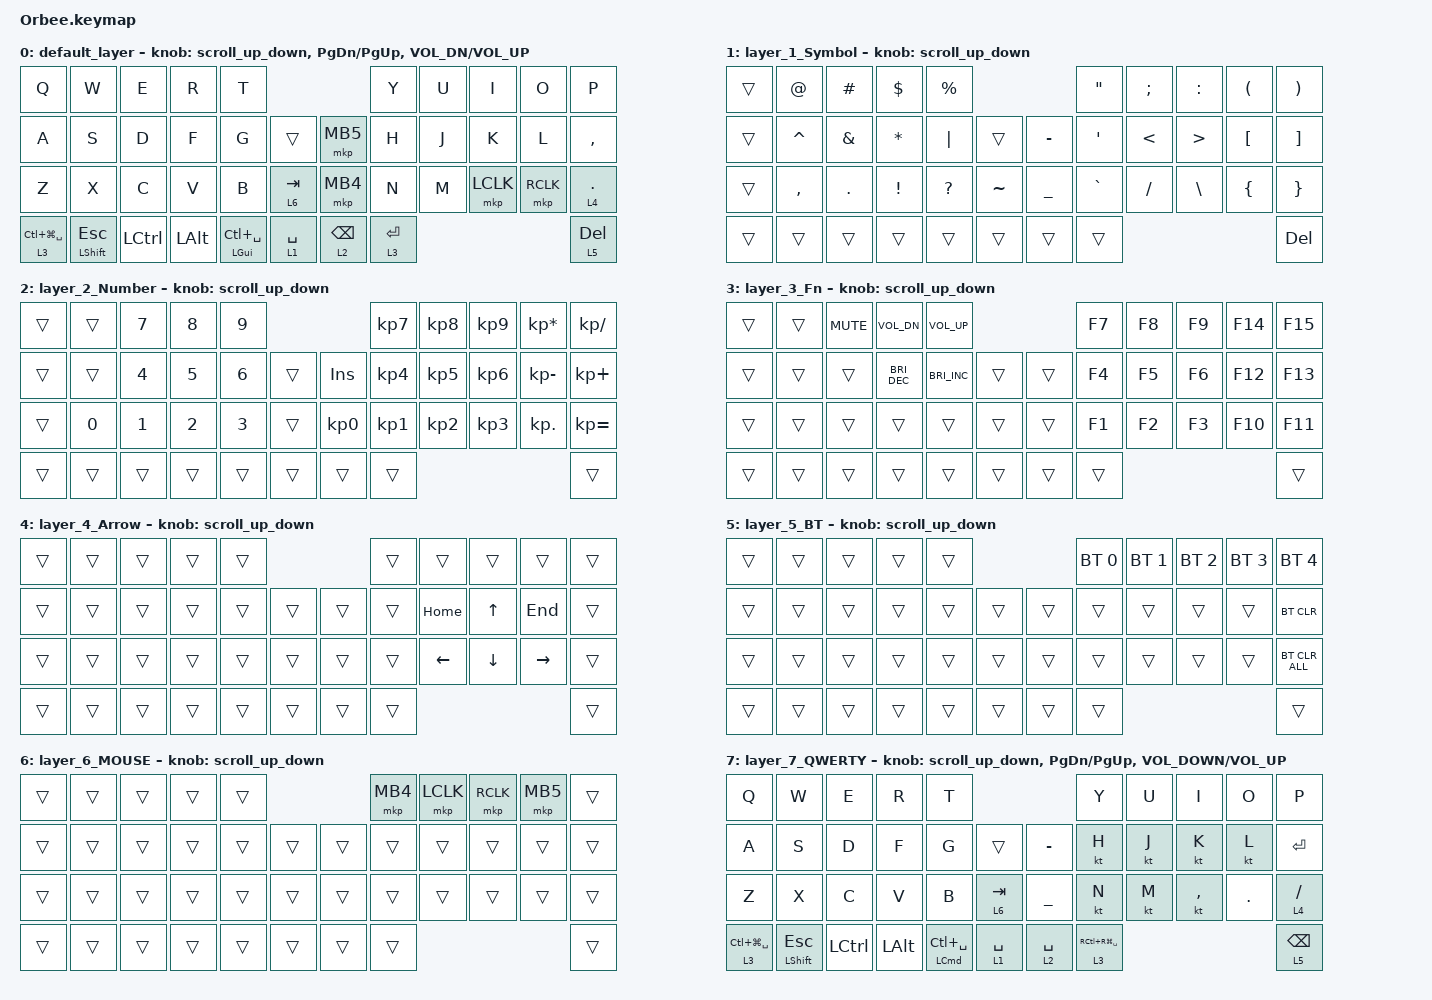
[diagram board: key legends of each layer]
#include <behaviors.dtsi>
#include <dt-bindings/zmk/bt.h>
#include <dt-bindings/zmk/keys.h>
#include <dt-bindings/zmk/pointing.h>

#define ZMK_POINTING_DEFAULT_SCRL_VAL 100
#define MOUSE 6

&mt {
    flavor = "balanced";
    quick-tap-ms = <0>;
};

/ {
    combos {
        compatible = "zmk,combos";

        Middle_Click {
            bindings = <&mkp MCLK>;
            key-positions = <6 7>;
            layers = <0 6>;
        };

        Middle_Click2 {
            bindings = <&mkp MCLK>;
            key-positions = <33 32>;
            layers = <7>;
        };
    };

    macros {
        to_layer_0: to_layer_0 {
            compatible = "zmk,behavior-macro-one-param";
            #binding-cells = <1>;
            bindings = <&to 0 &macro_param_1to1 &kp MACRO_PLACEHOLDER>;
            label = "TO_LAYER_0";
        };
    };

    behaviors {
        lt_to_layer_0: lt_to_layer_0 {
            compatible = "zmk,behavior-hold-tap";
            label = "LAYER_TAP_TO_0";
            bindings = <&mo>, <&to_layer_0>;

            #binding-cells = <2>;
            tapping-term-ms = <200>;
        };

        scroll_up_down: behavior_sensor_rotate_mouse_wheel_up_down {
            compatible = "zmk,behavior-sensor-rotate";
            #sensor-binding-cells = <0>;
            bindings = <&msc SCRL_UP>, <&msc SCRL_DOWN>;

            tap-ms = <20>;
        };
    };

    keymap {
        compatible = "zmk,keymap";

        default_layer {
            bindings = <
&kp Q                &kp W                  &kp E      &kp R     &kp T                                               &kp Y        &kp U  &kp I      &kp O      &kp P
&kp A                &kp S                  &kp D      &kp F     &kp G               &trans         &mkp MB5         &kp H        &kp J  &kp K      &kp L      &kp COMMA
&kp Z                &kp X                  &kp C      &kp V     &kp B               &lt 6 TAB      &mkp MB4         &kp N        &kp M  &mkp LCLK  &mkp RCLK  &lt 4 PERIOD
&lt 3 LC(LG(SPACE))  &mt LEFT_SHIFT ESCAPE  &kp LCTRL  &kp LALT  &mt LGUI LC(SPACE)  &lt 1 SPACE    &lt 2 BACKSPACE  &lt 3 ENTER                               &lt 5 DELETE
            >;

            sensor-bindings =
                <&scroll_up_down>,
                <&inc_dec_kp PG_DN PG_UP>,
                <&inc_dec_kp C_VOL_DN C_VOL_UP>;
        };

        layer_1_Symbol {
            bindings = <
&trans  &kp AT_SIGN  &kp HASH       &kp DOLLAR       &kp PERCENT                                &kp DOUBLE_QUOTES  &kp SEMICOLON  &kp COLON         &kp LEFT_PARENTHESIS  &kp RIGHT_PARENTHESIS
&trans  &kp CARET    &kp AMPERSAND  &kp ASTERISK     &kp PIPE      &trans       &kp MINUS       &kp SINGLE_QUOTE   &kp LESS_THAN  &kp GREATER_THAN  &kp LEFT_BRACKET      &kp RIGHT_BRACKET
&trans  &kp COMMA    &kp PERIOD     &kp EXCLAMATION  &kp QUESTION  &kp TILDE    &kp UNDERSCORE  &kp GRAVE          &kp SLASH      &kp BACKSLASH     &kp LEFT_BRACE        &kp RIGHT_BRACE
&trans  &trans       &trans         &trans           &trans        &trans       &trans          &trans                                                                    &kp DELETE
            >;

            sensor-bindings = <&scroll_up_down>;
        };

        layer_2_Number {
            bindings = <
&trans  &trans        &kp NUMBER_7  &kp NUMBER_8  &kp NUMBER_9                        &kp KP_N7  &kp KP_N8  &kp KP_N9  &kp KP_ASTERISK  &kp KP_DIVIDE
&trans  &trans        &kp NUMBER_4  &kp NUMBER_5  &kp NUMBER_6  &trans    &kp INSERT  &kp KP_N4  &kp KP_N5  &kp KP_N6  &kp KP_SUBTRACT  &kp KP_PLUS
&trans  &kp NUMBER_0  &kp NUMBER_1  &kp NUMBER_2  &kp NUMBER_3  &trans    &kp KP_N0   &kp KP_N1  &kp KP_N2  &kp KP_N3  &kp KP_DOT       &kp KP_EQUAL
&trans  &trans        &trans        &trans        &trans        &trans    &trans      &trans                                            &trans
            >;

            sensor-bindings = <&scroll_up_down>;
        };

        layer_3_Fn {
            bindings = <
&trans  &trans  &kp K_MUTE  &kp C_VOL_DN          &kp C_VOL_UP                            &kp F7  &kp F8  &kp F9  &kp F14  &kp F15
&trans  &trans  &trans      &kp C_BRIGHTNESS_DEC  &kp C_BRIGHTNESS_INC  &trans    &trans  &kp F4  &kp F5  &kp F6  &kp F12  &kp F13
&trans  &trans  &trans      &trans                &trans                &trans    &trans  &kp F1  &kp F2  &kp F3  &kp F10  &kp F11
&trans  &trans  &trans      &trans                &trans                &trans    &trans  &trans                           &trans
            >;

            sensor-bindings = <&scroll_up_down>;
        };

        layer_4_Arrow {
            bindings = <
&trans  &trans  &trans  &trans  &trans                    &trans  &trans    &trans          &trans     &trans
&trans  &trans  &trans  &trans  &trans  &trans    &trans  &trans  &kp HOME  &kp UP_ARROW    &kp END    &trans
&trans  &trans  &trans  &trans  &trans  &trans    &trans  &trans  &kp LEFT  &kp DOWN_ARROW  &kp RIGHT  &trans
&trans  &trans  &trans  &trans  &trans  &trans    &trans  &trans                                       &trans
            >;

            sensor-bindings = <&scroll_up_down>;
        };

        layer_5_BT {
            bindings = <
&trans  &trans  &trans  &trans  &trans                    &bt BT_SEL 0  &bt BT_SEL 1  &bt BT_SEL 2  &bt BT_SEL 3  &bt BT_SEL 4
&trans  &trans  &trans  &trans  &trans  &trans    &trans  &trans        &trans        &trans        &trans        &bt BT_CLR
&trans  &trans  &trans  &trans  &trans  &trans    &trans  &trans        &trans        &trans        &trans        &bt BT_CLR_ALL
&trans  &trans  &trans  &trans  &trans  &trans    &trans  &trans                                                  &trans
            >;

            sensor-bindings = <&scroll_up_down>;
        };

        layer_6_MOUSE {
            bindings = <
&trans  &trans  &trans  &trans  &trans                    &mkp MB4  &mkp LCLK  &mkp RCLK  &mkp MB5  &trans
&trans  &trans  &trans  &trans  &trans  &trans    &trans  &trans    &trans     &trans     &trans    &trans
&trans  &trans  &trans  &trans  &trans  &trans    &trans  &trans    &trans     &trans     &trans    &trans
&trans  &trans  &trans  &trans  &trans  &trans    &trans  &trans                                    &trans
            >;

            sensor-bindings = <&scroll_up_down>;
        };

        layer_7_QWERTY {
            bindings = <
&kp Q                &kp W                  &kp E             &kp R         &kp T                                                      &kp Y                &kp U  &kp I      &kp O       &kp P
&kp A                &kp S                  &kp D             &kp F         &kp G                       &trans         &kp MINUS       &kt H                &kt J  &kt K      &kt L       &kp ENTER
&kp Z                &kp X                  &kp C             &kp V         &kp B                       &lt 6 TAB      &kp UNDERSCORE  &kt N                &kt M  &kt COMMA  &kp PERIOD  &lt 4 SLASH
&lt 3 LC(LG(SPACE))  &mt LEFT_SHIFT ESCAPE  &kp LEFT_CONTROL  &kp LEFT_ALT  &mt LEFT_COMMAND LC(SPACE)  &lt 1 SPACE    &lt 2 SPACE     &lt 3 RC(RG(SPACE))                                &lt 5 BACKSPACE
            >;

            sensor-bindings =
                <&scroll_up_down>,
                <&inc_dec_kp PAGE_DOWN PAGE_UP>,
                <&inc_dec_kp C_VOLUME_DOWN C_VOLUME_UP>;
        };
    };
};
